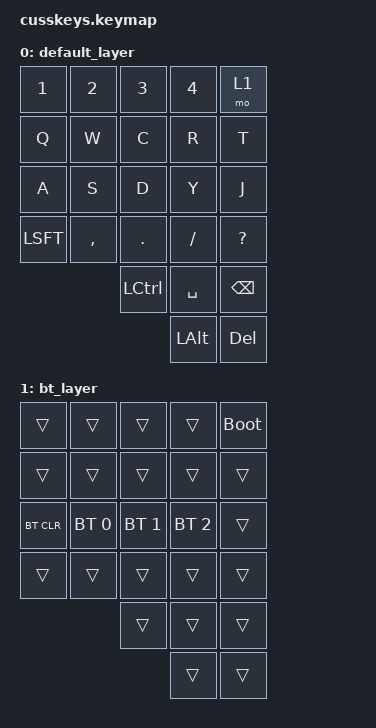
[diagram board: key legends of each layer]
#include <behaviors.dtsi>
#include <dt-bindings/zmk/keys.h>
#include <dt-bindings/zmk/bt.h>

/ {
    keymap {
        compatible = "zmk,keymap";
        layers = <&default_layer_label &bt_layer_label>; // Ensure labels match below

        default_layer_label: default_layer { // Label for the node
            bindings = <
                &kp N1    &kp N2      &kp N3      &kp N4      &mo 1
                &kp Q     &kp W       &kp C       &kp R       &kp T
                &kp A     &kp S       &kp D       &kp Y       &kp J
                &kp LSFT  &kp COMMA   &kp DOT     &kp SLASH   &kp QMARK
                                      &kp LCTRL   &kp SPACE   &kp BSPC
                                                  &kp LALT    &kp DEL
            >;
        };

        bt_layer_label: bt_layer { // Label for the node
            bindings = <
                &trans      &trans       &trans       &trans       &bootloader
                &trans      &trans       &trans       &trans       &trans
                &bt BT_CLR  &bt BT_SEL 0 &bt BT_SEL 1 &bt BT_SEL 2 &trans
                &trans      &trans       &trans       &trans       &trans
                                         &trans       &trans       &trans
                                                      &trans       &trans
            >;
        };
    };
};
